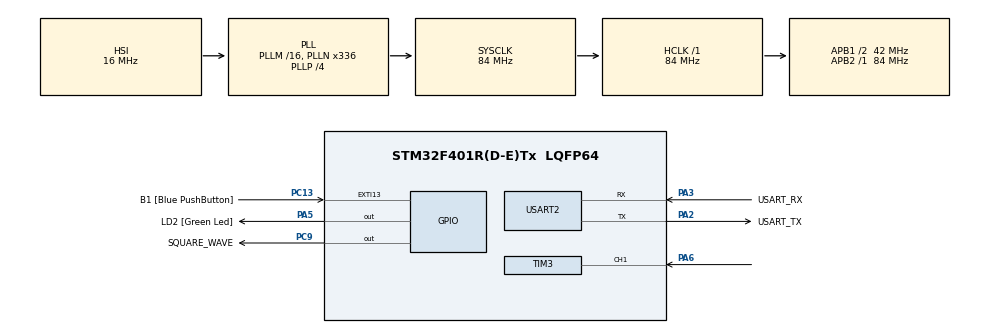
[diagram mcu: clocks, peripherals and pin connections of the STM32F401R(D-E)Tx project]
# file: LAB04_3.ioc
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Mcu.Family=STM32F4
Mcu.Name=STM32F401R(D-E)Tx
Mcu.Package=LQFP64
NVIC.PriorityGroup=NVIC_PRIORITYGROUP_0
NVIC.TIM2_IRQn=true\:0\:0\:false\:false\:true\:true\:true
NVIC.TIM3_IRQn=true\:0\:0\:false\:false\:true\:true\:true
NVIC.USART2_IRQn=true\:0\:0\:false\:false\:true\:true\:true
PA13.GPIO_Label=TMS
PA13.Mode=Serial_Wire
PA13.Signal=SYS_JTMS-SWDIO
PA14.GPIO_Label=TCK
PA14.Mode=Serial_Wire
PA14.Signal=SYS_JTCK-SWCLK
PA2.GPIO_Label=USART_TX
PA2.GPIO_Mode=GPIO_MODE_AF_PP
PA2.GPIO_PuPd=GPIO_NOPULL
PA2.GPIO_Speed=GPIO_SPEED_FREQ_LOW
PA2.Mode=Asynchronous
PA2.Signal=USART2_TX
PA3.GPIO_Label=USART_RX
PA3.GPIO_Mode=GPIO_MODE_AF_PP
PA3.GPIO_PuPd=GPIO_NOPULL
PA3.GPIO_Speed=GPIO_SPEED_FREQ_LOW
PA3.Mode=Asynchronous
PA3.Signal=USART2_RX
PA5.GPIO_Label=LD2 [Green Led]
PA5.GPIO_Mode=GPIO_MODE_OUTPUT_PP
PA5.GPIO_PuPd=GPIO_NOPULL
PA5.GPIO_Speed=GPIO_SPEED_FREQ_LOW
PA5.Signal=GPIO_Output
PA6.Signal=S_TIM3_CH1
PB3.GPIO_Label=SWO
PB3.Signal=SYS_JTDO-SWO
PC13-ANTI_TAMP.GPIO_Label=B1 [Blue PushButton]
PC13-ANTI_TAMP.GPIO_ModeDefaultEXTI=GPIO_MODE_IT_FALLING
PC13-ANTI_TAMP.GPIO_PuPd=GPIO_NOPULL
PC13-ANTI_TAMP.Signal=GPXTI13
PC14-OSC32_IN.Mode=LSE-External-Oscillator
PC14-OSC32_IN.Signal=RCC_OSC32_IN
PC15-OSC32_OUT.Mode=LSE-External-Oscillator
PC15-OSC32_OUT.Signal=RCC_OSC32_OUT
PC9.GPIO_Label=SQUARE_WAVE
PC9.Signal=GPIO_Output
PH0\ -\ OSC_IN.Mode=HSE-External-Clock-Source
PH0\ -\ OSC_IN.Signal=RCC_OSC_IN
PH1\ -\ OSC_OUT.Mode=HSE-External-Clock-Source
PH1\ -\ OSC_OUT.Signal=RCC_OSC_OUT
ProjectManager.HeapSize=0x200
ProjectManager.StackSize=0x400
ProjectManager.TargetToolchain=STM32CubeIDE
RCC.48MHZClocksFreq_Value=48000000
RCC.AHBFreq_Value=84000000
RCC.APB1CLKDivider=RCC_HCLK_DIV2
RCC.APB1Freq_Value=42000000
RCC.APB1TimFreq_Value=84000000
RCC.APB2Freq_Value=84000000
RCC.APB2TimFreq_Value=84000000
RCC.CortexFreq_Value=84000000
RCC.HCLKFreq_Value=84000000
RCC.HSE_VALUE=8000000
RCC.HSI_VALUE=16000000
RCC.PLLN=336
RCC.PLLP=RCC_PLLP_DIV4
RCC.PLLQ=7
RCC.SYSCLKFreq_VALUE=84000000
RCC.SYSCLKSource=RCC_SYSCLKSOURCE_PLLCLK
RCC.VCOOutputFreq_Value=336000000
SH.S_TIM3_CH1.0=TIM3_CH1,Input_Capture1_from_TI1
TIM2.Channel-Output\ Compare1\ No\ Output=TIM_CHANNEL_1
TIM2.Period=99
TIM2.Prescaler=8399
TIM3.Channel-Input_Capture1_from_TI1=TIM_CHANNEL_1
TIM3.ICPolarity_CH1=TIM_INPUTCHANNELPOLARITY_BOTHEDGE
TIM3.Period=9999
TIM3.Prescaler=167
USART2.VirtualMode=VM_ASYNC
VP_TIM2_VS_ClockSourceINT.Mode=Internal
VP_TIM2_VS_no_output1.Mode=Output Compare1 No Output
VP_TIM3_VS_ClockSourceINT.Mode=Internal
board=NUCLEO-F401RE

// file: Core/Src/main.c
/* USER CODE BEGIN Header */
/**
  ******************************************************************************
  * @file           : main.c
  * @brief          : Main program body
  ******************************************************************************
  * @attention
  *
  * <h2><center>&copy; Copyright (c) 2023 STMicroelectronics.
  * All rights reserved.</center></h2>
  *
  * This software component is licensed by ST under BSD 3-Clause license,
  * the "License"; You may not use this file except in compliance with the
  * License. You may obtain a copy of the License at:
  *                        opensource.org/licenses/BSD-3-Clause
  *
  ******************************************************************************
  */
/* USER CODE END Header */
#include "main.h"

/* USER CODE BEGIN Includes */
#include "string.h"
#include <stdio.h>
#include <stdlib.h>
/* USER CODE END Includes */

/* USER CODE BEGIN PD */
#define CAPTURING 0
#define DONE 1
#define NONE 0
#define RISING 1
#define FALLING 2
#define MAX_COMPARE_VALUE 91
/* USER CODE END PD */

TIM_HandleTypeDef htim2;
TIM_HandleTypeDef htim3;

UART_HandleTypeDef huart2;

/* USER CODE BEGIN PV */
char msg[30];
char receivedData[3];
char test[] = "\rHo catturato qualcosa!\r\n";
char msg_overflow[] = "\rOverflow!\r\n";
volatile uint8_t number_of_overflows = 0;
volatile uint8_t number_of_overflows_fall = 0;
volatile uint8_t captured_edge = 0;
volatile uint16_t cnt_1 = 0;
volatile uint16_t cnt_2 = 0;
volatile uint16_t cnt_fall = 0;
volatile uint16_t delta_cnt = 0;
volatile uint8_t processing = 0;
volatile uint16_t delta_fall = 0;
volatile uint16_t frequency;
volatile uint8_t max_frequency = 0;
volatile uint8_t min_frequency = 0;
volatile uint8_t dutycycle;
volatile uint8_t read_buffer_new = 0;
volatile uint8_t counting_fall_overflows = 0;
volatile uint8_t counting_overflows = 0;
volatile uint8_t variables_reset = 0;
volatile uint8_t have_received_data = 0;
volatile int8_t opt = 0;
volatile uint8_t step_1 = RESET;
volatile uint8_t step_2 = RESET;
volatile uint8_t step_3 = RESET;
volatile uint8_t compare_value_low = 1;
volatile uint8_t compare_value_high = 11;
uint32_t new_prescaler_value = 4199;
char readBuf[1];
char msg[30];
volatile uint8_t user_choice = 0;
/* USER CODE END PV */

void SystemClock_Config(void);
static void MX_GPIO_Init(void);
static void MX_USART2_UART_Init(void);
static void MX_TIM2_Init(void);
static void MX_TIM3_Init(void);
/* USER CODE BEGIN PFP */
void processReceivedValue(int8_t opt);
int8_t readReceivedValue(void);
void processCapturedEdge(uint8_t edge_type);//
/* USER CODE END PFP */

int main(void)
{

  /* MCU Configuration--------------------------------------------------------*/

  /* Reset of all peripherals, Initializes the Flash interface and the Systick. */
  HAL_Init();

  /* Configure the system clock */
  SystemClock_Config();

  /* Initialize all configured peripherals */
  MX_GPIO_Init();
  MX_USART2_UART_Init();
  MX_TIM2_Init();
  MX_TIM3_Init();
  /* USER CODE BEGIN 2 */
  HAL_TIM_OC_Start_IT(&htim2,TIM_CHANNEL_1);
  HAL_TIM_IC_Start_IT(&htim3,TIM_CHANNEL_1);
  /* USER CODE END 2 */

  /* Infinite loop */
  /* USER CODE BEGIN WHILE */
  HAL_UART_Receive_IT(&huart2, (uint8_t*)readBuf, 1); //initialize reception
  step_1 = SET; //initialize captured edge processing
  while (1)
  {
	  opt = readReceivedValue();
	  if (opt > 0){
		  processReceivedValue(opt);
	  }
    /* USER CODE END WHILE */

  }
}

void SystemClock_Config(void)
{
  RCC_OscInitTypeDef RCC_OscInitStruct = {0};
  RCC_ClkInitTypeDef RCC_ClkInitStruct = {0};

  /** Configure the main internal regulator output voltage
  */
  __HAL_RCC_PWR_CLK_ENABLE();
  __HAL_PWR_VOLTAGESCALING_CONFIG(PWR_REGULATOR_VOLTAGE_SCALE2);
  /** Initializes the RCC Oscillators according to the specified parameters
  * in the RCC_OscInitTypeDef structure.
  */
  RCC_OscInitStruct.OscillatorType = RCC_OSCILLATORTYPE_HSI;
  RCC_OscInitStruct.HSIState = RCC_HSI_ON;
  RCC_OscInitStruct.HSICalibrationValue = RCC_HSICALIBRATION_DEFAULT;
  RCC_OscInitStruct.PLL.PLLState = RCC_PLL_ON;
  RCC_OscInitStruct.PLL.PLLSource = RCC_PLLSOURCE_HSI;
  RCC_OscInitStruct.PLL.PLLM = 16;
  RCC_OscInitStruct.PLL.PLLN = 336;
  RCC_OscInitStruct.PLL.PLLP = RCC_PLLP_DIV4;
  RCC_OscInitStruct.PLL.PLLQ = 7;
  if (HAL_RCC_OscConfig(&RCC_OscInitStruct) != HAL_OK)
  {
    Error_Handler();
  }
  /** Initializes the CPU, AHB and APB buses clocks
  */
  RCC_ClkInitStruct.ClockType = RCC_CLOCKTYPE_HCLK|RCC_CLOCKTYPE_SYSCLK
                              |RCC_CLOCKTYPE_PCLK1|RCC_CLOCKTYPE_PCLK2;
  RCC_ClkInitStruct.SYSCLKSource = RCC_SYSCLKSOURCE_PLLCLK;
  RCC_ClkInitStruct.AHBCLKDivider = RCC_SYSCLK_DIV1;
  RCC_ClkInitStruct.APB1CLKDivider = RCC_HCLK_DIV2;
  RCC_ClkInitStruct.APB2CLKDivider = RCC_HCLK_DIV1;

  if (HAL_RCC_ClockConfig(&RCC_ClkInitStruct, FLASH_LATENCY_2) != HAL_OK)
  {
    Error_Handler();
  }
}

static void MX_TIM2_Init(void)
{

  TIM_ClockConfigTypeDef sClockSourceConfig = {0};
  TIM_MasterConfigTypeDef sMasterConfig = {0};
  TIM_OC_InitTypeDef sConfigOC = {0};

  htim2.Instance = TIM2;
  htim2.Init.Prescaler = 8399;
  htim2.Init.CounterMode = TIM_COUNTERMODE_UP;
  htim2.Init.Period = 99;
  htim2.Init.ClockDivision = TIM_CLOCKDIVISION_DIV1;
  htim2.Init.AutoReloadPreload = TIM_AUTORELOAD_PRELOAD_DISABLE;
  if (HAL_TIM_Base_Init(&htim2) != HAL_OK)
  {
    Error_Handler();
  }
  sClockSourceConfig.ClockSource = TIM_CLOCKSOURCE_INTERNAL;
  if (HAL_TIM_ConfigClockSource(&htim2, &sClockSourceConfig) != HAL_OK)
  {
    Error_Handler();
  }
  if (HAL_TIM_OC_Init(&htim2) != HAL_OK)
  {
    Error_Handler();
  }
  sMasterConfig.MasterOutputTrigger = TIM_TRGO_RESET;
  sMasterConfig.MasterSlaveMode = TIM_MASTERSLAVEMODE_DISABLE;
  if (HAL_TIMEx_MasterConfigSynchronization(&htim2, &sMasterConfig) != HAL_OK)
  {
    Error_Handler();
  }
  sConfigOC.OCMode = TIM_OCMODE_TIMING;
  sConfigOC.Pulse = 0;
  sConfigOC.OCPolarity = TIM_OCPOLARITY_HIGH;
  sConfigOC.OCFastMode = TIM_OCFAST_DISABLE;
  if (HAL_TIM_OC_ConfigChannel(&htim2, &sConfigOC, TIM_CHANNEL_1) != HAL_OK)
  {
    Error_Handler();
  }
  /* USER CODE BEGIN TIM2_Init 2 */
//  htim2.Init.Prescaler = new_prescaler_value;
  /* USER CODE END TIM2_Init 2 */

}

static void MX_TIM3_Init(void)
{

  /* USER CODE BEGIN TIM3_Init 0 */
//	__HAL_TIM_ENABLE_IT(&htim3, TIM_IT_UPDATE);
  /* USER CODE END TIM3_Init 0 */

  TIM_ClockConfigTypeDef sClockSourceConfig = {0};
  TIM_MasterConfigTypeDef sMasterConfig = {0};
  TIM_IC_InitTypeDef sConfigIC = {0};

  /* USER CODE BEGIN TIM3_Init 1 */
//  __HAL_TIM_ENABLE_IT(&htim3, TIM_IT_UPDATE);
  /* USER CODE END TIM3_Init 1 */
  htim3.Instance = TIM3;
  htim3.Init.Prescaler = 167;
  htim3.Init.CounterMode = TIM_COUNTERMODE_UP;
  htim3.Init.Period = 9999;
  htim3.Init.ClockDivision = TIM_CLOCKDIVISION_DIV1;
  htim3.Init.AutoReloadPreload = TIM_AUTORELOAD_PRELOAD_DISABLE;
  if (HAL_TIM_Base_Init(&htim3) != HAL_OK)
  {
    Error_Handler();
  }
  sClockSourceConfig.ClockSource = TIM_CLOCKSOURCE_INTERNAL;
  if (HAL_TIM_ConfigClockSource(&htim3, &sClockSourceConfig) != HAL_OK)
  {
    Error_Handler();
  }
  if (HAL_TIM_IC_Init(&htim3) != HAL_OK)
  {
    Error_Handler();
  }
  sMasterConfig.MasterOutputTrigger = TIM_TRGO_RESET;
  sMasterConfig.MasterSlaveMode = TIM_MASTERSLAVEMODE_DISABLE;
  if (HAL_TIMEx_MasterConfigSynchronization(&htim3, &sMasterConfig) != HAL_OK)
  {
    Error_Handler();
  }
  sConfigIC.ICPolarity = TIM_INPUTCHANNELPOLARITY_BOTHEDGE;
  sConfigIC.ICSelection = TIM_ICSELECTION_DIRECTTI;
  sConfigIC.ICPrescaler = TIM_ICPSC_DIV1;
  sConfigIC.ICFilter = 0;
  if (HAL_TIM_IC_ConfigChannel(&htim3, &sConfigIC, TIM_CHANNEL_1) != HAL_OK)
  {
    Error_Handler();
  }
  /* USER CODE BEGIN TIM3_Init 2 */
  //Enables the TIM_IT_UPDATE interrupt -> enables PeriodElapsed callback
  __HAL_TIM_ENABLE_IT(&htim3, TIM_IT_UPDATE);
  /* USER CODE END TIM3_Init 2 */

}

static void MX_USART2_UART_Init(void)
{

  huart2.Instance = USART2;
  huart2.Init.BaudRate = 115200;
  huart2.Init.WordLength = UART_WORDLENGTH_8B;
  huart2.Init.StopBits = UART_STOPBITS_1;
  huart2.Init.Parity = UART_PARITY_NONE;
  huart2.Init.Mode = UART_MODE_TX_RX;
  huart2.Init.HwFlowCtl = UART_HWCONTROL_NONE;
  huart2.Init.OverSampling = UART_OVERSAMPLING_16;
  if (HAL_UART_Init(&huart2) != HAL_OK)
  {
    Error_Handler();
  }

}

static void MX_GPIO_Init(void)
{
  GPIO_InitTypeDef GPIO_InitStruct = {0};

  /* GPIO Ports Clock Enable */
  __HAL_RCC_GPIOC_CLK_ENABLE();
  __HAL_RCC_GPIOH_CLK_ENABLE();
  __HAL_RCC_GPIOA_CLK_ENABLE();
  __HAL_RCC_GPIOB_CLK_ENABLE();

  /*Configure GPIO pin Output Level */
  HAL_GPIO_WritePin(LD2_GPIO_Port, LD2_Pin, GPIO_PIN_RESET);

  /*Configure GPIO pin Output Level */
  HAL_GPIO_WritePin(SQUARE_WAVE_GPIO_Port, SQUARE_WAVE_Pin, GPIO_PIN_RESET);

  /*Configure GPIO pin : B1_Pin */
  GPIO_InitStruct.Pin = B1_Pin;
  GPIO_InitStruct.Mode = GPIO_MODE_IT_FALLING;
  GPIO_InitStruct.Pull = GPIO_NOPULL;
  HAL_GPIO_Init(B1_GPIO_Port, &GPIO_InitStruct);

  /*Configure GPIO pin : LD2_Pin */
  GPIO_InitStruct.Pin = LD2_Pin;
  GPIO_InitStruct.Mode = GPIO_MODE_OUTPUT_PP;
  GPIO_InitStruct.Pull = GPIO_NOPULL;
  GPIO_InitStruct.Speed = GPIO_SPEED_FREQ_LOW;
  HAL_GPIO_Init(LD2_GPIO_Port, &GPIO_InitStruct);

  /*Configure GPIO pin : SQUARE_WAVE_Pin */
  GPIO_InitStruct.Pin = SQUARE_WAVE_Pin;
  GPIO_InitStruct.Mode = GPIO_MODE_OUTPUT_PP;
  GPIO_InitStruct.Pull = GPIO_NOPULL;
  GPIO_InitStruct.Speed = GPIO_SPEED_FREQ_LOW;
  HAL_GPIO_Init(SQUARE_WAVE_GPIO_Port, &GPIO_InitStruct);

}

/* USER CODE BEGIN 4 */
void HAL_TIM_OC_DelayElapsedCallback(TIM_HandleTypeDef * htim) {
	if (htim->Instance == TIM2){
		HAL_GPIO_TogglePin(GPIOC, GPIO_PIN_9);
		if (TIM2->CCR1 == compare_value_high) {
			TIM2->CCR1 = compare_value_low;
		}
		else TIM2->CCR1 = compare_value_high;
	}
}

void HAL_TIM_IC_CaptureCallback(TIM_HandleTypeDef * htim){
	if (HAL_GPIO_ReadPin(GPIOA, GPIO_PIN_6) == GPIO_PIN_SET){
		captured_edge = RISING;
	}
	else if (HAL_GPIO_ReadPin(GPIOA, GPIO_PIN_6) == GPIO_PIN_RESET){
		captured_edge = FALLING;
	}
	processCapturedEdge(captured_edge);
}

void HAL_TIM_PeriodElapsedCallback(TIM_HandleTypeDef * htim){
	if (htim->Instance == TIM3){
		if (counting_overflows != 0) {
			number_of_overflows++;
			if (counting_fall_overflows != 0) number_of_overflows_fall++;
		}
	}
}

int8_t readReceivedValue(void){
	int8_t retVal = -1;
	if (have_received_data == SET){
		have_received_data = RESET;
		  HAL_UART_Receive_IT(&huart2, (uint8_t*)readBuf, 1);
		  retVal = atoi(readBuf);
	}
	return retVal;
}
void processReceivedValue(int8_t opt){
	switch (opt) {
	case 1:
		sprintf(msg, "Current frequency: %u\r\n", frequency);
		HAL_UART_Transmit_IT(&huart2, (uint8_t*)msg, strlen(msg));
		break;
	case 2:
		sprintf(msg, "Current duty cycle: %u\r\n", dutycycle);
		HAL_UART_Transmit_IT(&huart2, (uint8_t*)msg, strlen(msg));
		break;
	case 3:
		sprintf(msg, "Maximum frequency: %u\r\n", max_frequency);
		HAL_UART_Transmit_IT(&huart2, (uint8_t*)msg, strlen(msg));
		break;
	case 4:
		sprintf(msg, "Minimum frequency: %u\r\n", min_frequency);
		HAL_UART_Transmit_IT(&huart2, (uint8_t*)msg, strlen(msg));
		break;
	case 5:
		// update the value of TIM2's prescaler,
		// changing the frequency from 50 to 200 Hz
		if (TIM2->PSC > 15799){
			TIM2->PSC = 4199;
		}
		else TIM2->PSC += 1000;
		break;
	case 6:
		// increase the value at which the second compare event
		// that drives the generation of the square wave happens,
		// increasing the duty cycle.
		// once it reaches the maximum reset it to the minimum
        compare_value_high += 5;
        if (compare_value_high > MAX_COMPARE_VALUE) {
            compare_value_high = compare_value_low + 1;
        }
        break;
	}
}

void processCapturedEdge(uint8_t captured_edge){
	if (captured_edge == RISING && step_1 == SET){
		step_1 = RESET;
		///////////////
		cnt_1 = TIM3->CCR1; // count at first rising edge
		number_of_overflows = 0; // reset the number of overflows
		number_of_overflows_fall = 0;
		counting_fall_overflows = 1; // start counting overflows of TIM3 between cnt_1 and cnt_fall
		counting_overflows= 1; // start counting overflows of TIM3 between cnt_1 and cnt_2
		///////////////
		step_2 = SET;
	}
	else if (captured_edge == FALLING && step_2 == SET){
		step_2 = RESET;
		///////////////
		cnt_fall = TIM3->CCR1; // count at falling edge
		counting_fall_overflows = 0; // stop counting overflows
		delta_fall = cnt_fall + number_of_overflows_fall*10000 - cnt_1; // # of timer ticks between cnt_fall and cnt_2
		///////////////
		step_3 = SET;
	}
	else if (captured_edge == RISING && step_3 == SET){
		step_3 = RESET;
		///////////////
		cnt_2 = TIM3->CCR1; // count at second rising edge
		counting_overflows = 0; // stop counting overflows
		// # of ticks b/w cnt_1 and cnt_2
		delta_cnt = cnt_2 + number_of_overflows*10000 - cnt_1;
		// 50 is UEF of TIM3, 10000 is the period
		frequency = 50*10000/delta_cnt;
		// initialize minimum frequency
		if(min_frequency == 0) min_frequency = frequency;
		// update max frequency
		if (frequency > max_frequency) max_frequency = frequency;
		// update min frequency
		else if (frequency < min_frequency) min_frequency = frequency;
		dutycycle = 100*delta_fall/delta_cnt;
		///////////////
		step_1 = SET;
	}
}

void HAL_UART_RxCpltCallback(UART_HandleTypeDef *huart){
	have_received_data = SET;
}
/* USER CODE END 4 */

void Error_Handler(void)
{
  __disable_irq();
  while (1)
  {
  }
}

/************************ (C) COPYRIGHT STMicroelectronics *****END OF FILE****/
